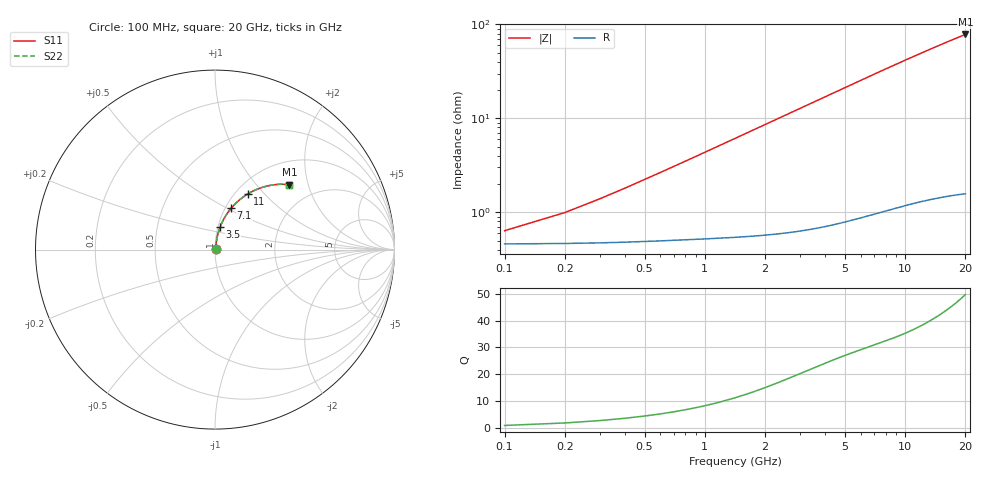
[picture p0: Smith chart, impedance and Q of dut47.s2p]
! Touchstone file exported from HFSS 2026.1.0
!  File:  C:/ffzhzh/LocalFiles/Ansys_Project_Files/temp_train_BSMRDL_47_1782882500_43084.aedt
!  Generated:  01:09:37 PM Jul  1, 2026
!  Design:  BSMRDL
!  Project:  temp_train_BSMRDL_47_1782882500_43084
! Variables:
!  h_bsmrdl = 4.28um
!  h_ox = 20um
!  h_rdl = 5um
!  h_sub = 80um
!  h_tmrdl = 5um
!  h_tsv = 80um
!  h_via = 3um
!  l_bsmrdl = 609.11um
!  l_sub = 1009.11um
!  l_tmrdl = 200um
!  m_sub = 200um
!  pitch = 55.62um
!  r_tsv = 6um
!  s_tmrdl = 10um
!  w_bsmrdl = 11.03um
!  w_sub = 500um
!  w_tmrdl = 12um
!  x_tsv_center1 = 206um
!  x_tsv_center2 = 826.14um
!  x_tsv_center3 = 1038.14um
!  x_tsv_center4 = 1658.28um
!  x_tsv_center5 = 1870.28um
!  x_tsv_center6 = 2490.42um
# GHz S MA R 50.000000
! Terminal data exported
! Port[1] = BSM_RDL1_1_T1
! Port[2] = BSM_RDL1_1_T2
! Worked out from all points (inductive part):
!   200 points, 100 MHz to 20 GHz, reference 50 ohm
!   read as one part in series: L = 693 pH near 400 MHz
!   highest Q = 49.7 at 20 GHz (marker M1), where L = 622 pH
!   S11 on the Smith chart (normalised r, x): 100 MHz: 1.01, +0.01; 3.5 GHz: 1.02, +0.26; 7.1 GHz: 1.07, +0.52; 11 GHz: 1.14, +0.81; 20 GHz: 1.47, +1.53
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0.1  0.005943 39.3  0.9954 -0.3  0.9954 -0.3  0.005943 39.3
! Gamma 0 0 0 0
! Port Impedance 50 0 50 0
0.2  0.00886 57.9  0.9953 -0.6  0.9953 -0.6  0.00886 57.9
0.3  0.01224 66.6  0.9952 -0.9  0.9952 -0.9  0.01224 66.6
0.4  0.01576 71.2  0.9951 -1.1  0.9951 -1.1  0.01576 71.2
0.5  0.01934 74.0  0.995 -1.4  0.995 -1.4  0.01934 74.0
0.6  0.02294 75.9  0.9948 -1.7  0.9948 -1.7  0.02294 75.9
0.8  0.03016 78.1  0.9945 -2.2  0.9945 -2.2  0.03016 78.1
1.1  0.04101 79.6  0.994 -3.1  0.994 -3.1  0.04101 79.6
1.5  0.05548 80.2  0.9931 -4.2  0.9931 -4.2  0.05548 80.2
2.1  0.07713 79.9  0.9914 -5.8  0.9914 -5.8  0.07713 79.9
2.7  0.09862 79.0  0.9891 -7.5  0.9891 -7.5  0.09862 79.0
3.5  0.1269 77.3  0.9854 -9.7  0.9854 -9.7  0.1269 77.3
4.2  0.1513 75.7  0.9814 -11.6  0.9814 -11.6  0.1513 75.8
5  0.1785 73.8  0.9763 -13.7  0.9763 -13.7  0.1785 73.8
6.8  0.2374 69.4  0.9624 -18.4  0.9624 -18.4  0.2374 69.4
7.1  0.2468 68.7  0.9598 -19.2  0.9598 -19.2  0.2468 68.7
8.5  0.2895 65.3  0.947 -22.7  0.947 -22.7  0.2895 65.3
10.1  0.3354 61.5  0.931 -26.6  0.931 -26.6  0.3354 61.6
11  0.3599 59.5  0.9216 -28.7  0.9216 -28.7  0.3598 59.5
13.4  0.42 54.2  0.8952 -34.1  0.8952 -34.1  0.42 54.2
16.7  0.4913 47.4  0.858 -41.1  0.858 -41.1  0.4913 47.4
20  0.5502 41.1  0.8218 -47.5  0.8218 -47.5  0.5502 41.2
